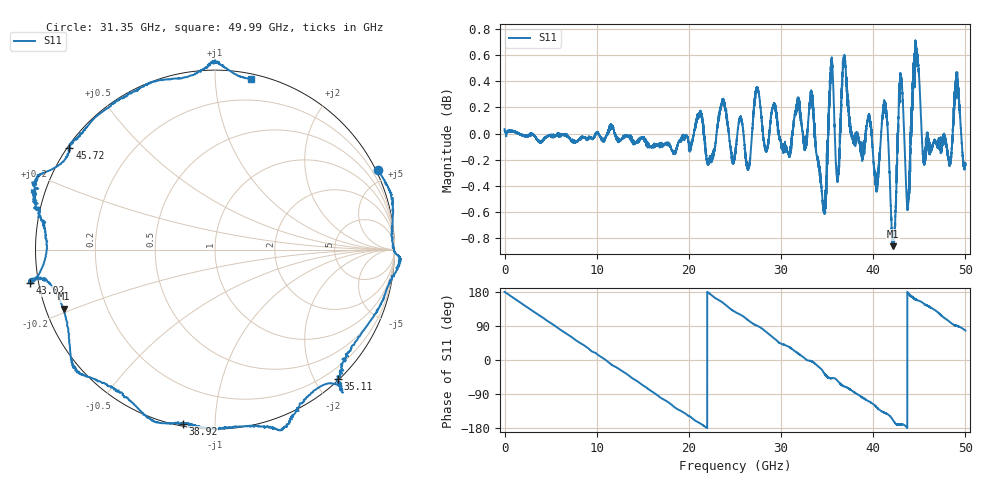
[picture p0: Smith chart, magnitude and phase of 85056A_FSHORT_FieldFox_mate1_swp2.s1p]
!Created with skrf (http://scikit-rf.org).
# Hz S RI R 50.0
!freq ReS11 ImS11
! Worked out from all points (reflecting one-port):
!   10000 points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, 5.3 MHz to 50 GHz, reference 50 ohm
!   lowest |S11| = -0.9 dB at 42.15 GHz (marker M1), VSWR 20.21, Z = 2.56 - j9.37 ohm
!   phase of S11 starts at 180 deg and turns -822 deg over the sweep
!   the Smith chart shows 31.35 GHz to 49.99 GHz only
!   S11 on the Smith chart (normalised r, x): 31.35 GHz: -0.09, +4.34; 35.11 GHz: 0.03, -2.33; 38.92 GHz: 0.01, -0.83; 43.02 GHz: -0.02, -0.09; 45.72 GHz: 0.01, +0.31; 49.99 GHz: 0.04, +1.23
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5299970  -1.004 0.00191
3.33528e9  -0.5693 0.8184
6.255262e9  0.2276 0.973
9.460243e9  0.9169 0.3879
1.250522e10  0.9001 -0.4222
1.574021e10  0.1875 -0.9707
1.875519e10  -0.6318 -0.7617
2.146017e10  -0.9972 -0.1615
2.354016e10  -0.9198 0.4568
2.500515e10  -0.5884 0.7862
2.757013e10  0.0262 1.035
2.965512e10  0.6673 0.7483
3.125511e10  0.8884 0.4644
3.135011e10  0.9071 0.4414
3.33401e10  1.03 -0.0633
3.510509e10  0.6835 -0.7193
3.573509e10  0.6902 -0.758
3.750507e10  0.2109 -0.9872
3.891507e10  -0.181 -0.9709
4.135005e10  -0.7829 -0.6519
4.214505e10  -0.8439 -0.3287
4.302004e10  -1.032 -0.1875
4.375504e10  -0.9392 0.0328
4.464503e10  -0.9985 0.3789
4.571503e10  -0.8108 0.5669
4.775501e10  -0.3464 0.9364
4.9985e10  0.2023 0.951
5e10  0.2049 0.9508
